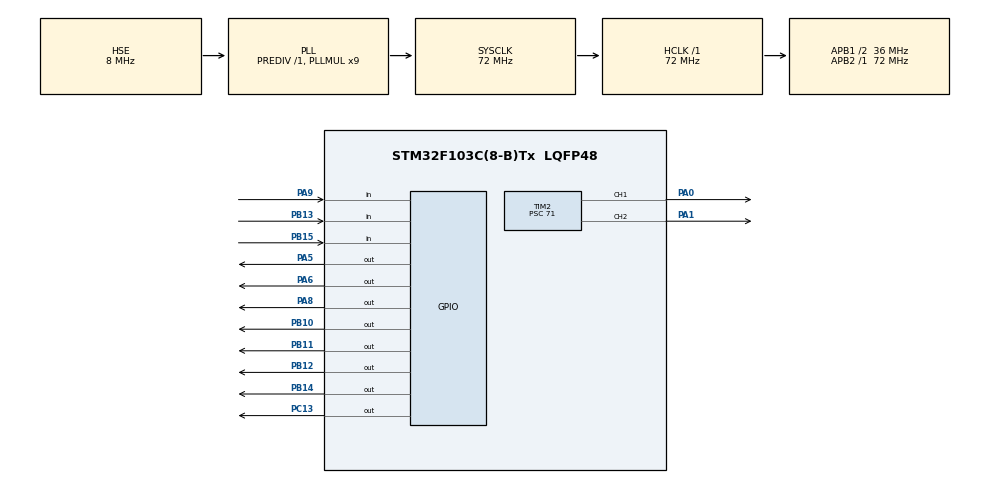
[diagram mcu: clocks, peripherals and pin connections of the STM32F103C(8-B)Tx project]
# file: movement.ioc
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Mcu.Family=STM32F1
Mcu.Name=STM32F103C(8-B)Tx
Mcu.Package=LQFP48
NVIC.PriorityGroup=NVIC_PRIORITYGROUP_4
PA0-WKUP.Signal=S_TIM2_CH1_ETR
PA1.Signal=S_TIM2_CH2
PA13.Mode=Serial_Wire
PA13.Signal=SYS_JTMS-SWDIO
PA14.Mode=Serial_Wire
PA14.Signal=SYS_JTCK-SWCLK
PA5.Signal=GPIO_Output
PA6.Signal=GPIO_Output
PA8.Signal=GPIO_Output
PA9.Signal=GPIO_Input
PB10.Signal=GPIO_Output
PB11.Signal=GPIO_Output
PB12.Signal=GPIO_Output
PB13.Signal=GPIO_Input
PB14.Signal=GPIO_Output
PB15.Signal=GPIO_Input
PC13-TAMPER-RTC.Signal=GPIO_Output
PD0-OSC_IN.Mode=HSE-External-Oscillator
PD0-OSC_IN.Signal=RCC_OSC_IN
PD1-OSC_OUT.Mode=HSE-External-Oscillator
PD1-OSC_OUT.Signal=RCC_OSC_OUT
ProjectManager.HeapSize=0x200
ProjectManager.StackSize=0x400
ProjectManager.TargetToolchain=STM32CubeIDE
RCC.AHBFreq_Value=72000000
RCC.APB1CLKDivider=RCC_HCLK_DIV2
RCC.APB1Freq_Value=36000000
RCC.APB1TimFreq_Value=72000000
RCC.APB2Freq_Value=72000000
RCC.APB2TimFreq_Value=72000000
RCC.HCLKFreq_Value=72000000
RCC.PLLMUL=RCC_PLL_MUL9
RCC.PLLSourceVirtual=RCC_PLLSOURCE_HSE
RCC.SYSCLKFreq_VALUE=72000000
RCC.SYSCLKSource=RCC_SYSCLKSOURCE_PLLCLK
RCC.USBFreq_Value=72000000
SH.S_TIM2_CH1_ETR.0=TIM2_CH1,PWM Generation1 CH1
SH.S_TIM2_CH2.0=TIM2_CH2,PWM Generation2 CH2
TIM1.Period=65535
TIM1.Prescaler=71
TIM2.Channel-PWM\ Generation1\ CH1=TIM_CHANNEL_1
TIM2.Channel-PWM\ Generation2\ CH2=TIM_CHANNEL_2
TIM2.Period=100
TIM2.Prescaler=71
VP_TIM1_VS_ClockSourceINT.Mode=Internal
VP_TIM2_VS_ClockSourceINT.Mode=Internal
board=custom

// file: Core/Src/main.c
/* USER CODE BEGIN Header */
/**
  ******************************************************************************
  * @file           : main.c
  * @brief          : Main program body
  ******************************************************************************
  * @attention
  *
  * Copyright (c) 2023 STMicroelectronics.
  * All rights reserved.
  *
  * This software is licensed under terms that can be found in the LICENSE file
  * in the root directory of this software component.
  * If no LICENSE file comes with this software, it is provided AS-IS.
  *
  ******************************************************************************
  */
/* USER CODE END Header */
#include "main.h"
#include "math.h"
#include "string.h"
#include <stdio.h>

/* USER CODE BEGIN PD */
   #define BIT0   0x01 // 0000 000'0' BIT0 for wall N,
   #define BIT1   0x02 // 0000 00'0'0 BIT1 for wall E
   #define BIT2   0x04 // 0000 0'0'00 BIT2 for wall S
   #define BIT3   0x08 // 0000 '0'000 BIT3 for wall W
   #define BIT4   0x10 // 000'0' 0000
   #define BIT5   0x20 // 00'0'0 0000
   #define BIT6   0x40 // 0'0'00 0000
   #define BIT7   0x80 /* '0'000 0000 for checking if car ran over or not */

#define CHECKBIT(x,b) (x&b) // check bit "b" in byte "x"
#define INPUT_A1 GPIO_PIN_5 // Output port for motor 1
#define INPUT_A2 GPIO_PIN_6 // Output port for motor 1
#define INPUT_B3 GPIO_PIN_0 // Output port for motor 2
#define INPUT_B4 GPIO_PIN_1 // Output port for motor 2
#define TRIG_PIN GPIO_PIN_12
#define TRIG_PORT GPIOB
#define ECHO_PIN GPIO_PIN_13
#define ECHO_PORT GPIOB
#define TRIG_PIN_1 GPIO_PIN_8
#define TRIG_PORT_1 GPIOA
#define ECHO_PIN_1 GPIO_PIN_9
#define ECHO_PORT_1 GPIOA
#define TRIG_PIN_2 GPIO_PIN_14
#define TRIG_PORT_2 GPIOB
#define ECHO_PIN_2 GPIO_PIN_15
#define ECHO_PORT_2 GPIOB
uint32_t pMillis;
uint32_t Value1 = 0;
uint32_t Value2 = 0;
uint32_t Value3 = 0;
uint32_t Value4 = 0;
uint32_t Value5 = 0;
uint32_t Value6 = 0;
uint16_t Distance  = 0;
int stkptr=0;
int stk_empty_flag = 0;
float Kp = 0.25, Ki = 0, Kd = 0.8;
int error = 0;
float P = 0, I = 0, D = 0, PID_value = 0;
int speed_right=80;// ENA duty cycle
int speed_left=80;// ENB duty cycle
float previous_error = 0;
uint16_t Distance_1=0;// Distance_left
uint16_t Distance_2=0;// Distance_right
unsigned char mazeflood[36]={
4,3,2,2,3,4,
3,2,1,1,2,3,
2,1,0,0,1,2,
2,1,0,0,1,2,
3,2,1,1,2,3,
4,3,2,2,3,4
};

uint16_t current_cell=30;
unsigned char walldata[36];
unsigned char current_dir=1; // direction is forward at time 0s // west
uint16_t led_right=0,led_front=0,led_left=0;
uint16_t next_direct;
uint16_t destination = 15;
uint16_t count=0;

/* USER CODE END PD */

TIM_HandleTypeDef htim1;
TIM_HandleTypeDef htim2;

/* USER CODE BEGIN PV */

/*
         7 6 5 4 3 2 1 0
direction: |0|W|0|S|0|E|0|N|
           64  16  4   1

*/
/* USER CODE END PV */

void SystemClock_Config(void);
static void MX_GPIO_Init(void);
static void MX_TIM1_Init(void);
static void MX_TIM2_Init(void);

/* USER CODE BEGIN 0 */

void turn_right(){
	// phai_tien
	HAL_GPIO_WritePin(GPIOA, GPIO_PIN_5, 0);
	HAL_GPIO_WritePin(GPIOA, GPIO_PIN_6, 0);
	//trai_dung
	HAL_GPIO_WritePin(GPIOB, GPIO_PIN_11, 0);
	HAL_GPIO_WritePin(GPIOB, GPIO_PIN_10, 1);
	TIM2->CCR1=100;

	HAL_Delay(200);
}
void turn_left(){
	// phai_dung
	HAL_GPIO_WritePin(GPIOA, GPIO_PIN_5, 0);
	HAL_GPIO_WritePin(GPIOA, GPIO_PIN_6, 1);
	//trai_tien
	HAL_GPIO_WritePin(GPIOB, GPIO_PIN_11, 0);
	HAL_GPIO_WritePin(GPIOB, GPIO_PIN_10, 0);
	TIM2->CCR1=100;

	HAL_Delay(200);

}
void ford_ward(){
	// phai_tien
	HAL_GPIO_WritePin(GPIOA, GPIO_PIN_5, 0);
	HAL_GPIO_WritePin(GPIOA, GPIO_PIN_6, 1);
	//trai_tien
	HAL_GPIO_WritePin(GPIOB, GPIO_PIN_11, 0);
	HAL_GPIO_WritePin(GPIOB, GPIO_PIN_10, 1);
	TIM2->CCR1=40;
	HAL_Delay(200);

}
void stop(){
	// phai_tien
	HAL_GPIO_WritePin(GPIOA, GPIO_PIN_5, 0);
	HAL_GPIO_WritePin(GPIOA, GPIO_PIN_6, 0);
	//trai_dung
	HAL_GPIO_WritePin(GPIOB, GPIO_PIN_11, 0);
	HAL_GPIO_WritePin(GPIOB, GPIO_PIN_10, 0);
	HAL_Delay(1000);

}
void sensor_right(){
	HAL_GPIO_WritePin(TRIG_PORT, TRIG_PIN, GPIO_PIN_SET);  // pull the TRIG pin HIGH
		      __HAL_TIM_SET_COUNTER(&htim1, 0);
		      while (__HAL_TIM_GET_COUNTER (&htim1) < 10);  // wait for 10 us
		      HAL_GPIO_WritePin(TRIG_PORT, TRIG_PIN, GPIO_PIN_RESET);  // pull the TRIG pin low

		      pMillis = HAL_GetTick(); // used this to avoid infinite while loop  (for timeout)
		      // wait for the echo pin to go high
		      while (!(HAL_GPIO_ReadPin (ECHO_PORT, ECHO_PIN)) && pMillis + 10 >  HAL_GetTick());
		      Value1 = __HAL_TIM_GET_COUNTER (&htim1);

		      pMillis = HAL_GetTick(); // used this to avoid infinite while loop (for timeout)
		      // wait for the echo pin to go low
		      while ((HAL_GPIO_ReadPin (ECHO_PORT, ECHO_PIN)) && pMillis + 50 > HAL_GetTick());
		      Value2 = __HAL_TIM_GET_COUNTER (&htim1);

		      Distance = (Value2-Value1)* 0.034/2;
		      if ( Distance <= 12 ) led_right=1;
		      else led_right=0;

}
void sensor_left(){
	HAL_GPIO_WritePin(TRIG_PORT_1, TRIG_PIN_1, GPIO_PIN_SET);  // pull the TRIG pin HIGH
		  	    __HAL_TIM_SET_COUNTER(&htim1, 0);
		  	    while (__HAL_TIM_GET_COUNTER (&htim1) < 10);  // wait for 10 us
		  	    HAL_GPIO_WritePin(TRIG_PORT_1, TRIG_PIN_1, GPIO_PIN_RESET);  // pull the TRIG pin low

		  	    pMillis = HAL_GetTick(); // used this to avoid infinite while loop  (for timeout)
		  	    // wait for the echo pin to go high
		  	    while (!(HAL_GPIO_ReadPin (ECHO_PORT_1, ECHO_PIN_1)) && pMillis + 10 >  HAL_GetTick());
		  	    Value3 = __HAL_TIM_GET_COUNTER (&htim1);

		  	    pMillis = HAL_GetTick(); // used this to avoid infinite while loop (for timeout)
		  	    // wait for the echo pin to go low
		  	    while ((HAL_GPIO_ReadPin (ECHO_PORT_1, ECHO_PIN_1)) && pMillis + 50 > HAL_GetTick());
		  	    Value4 = __HAL_TIM_GET_COUNTER (&htim1);

		  	    Distance_1 = (Value4-Value3)/2/29.412;
		  	    if (Distance_1 <= 12) led_left=1;
		  	    else led_left=0;
}
void sensor_forward(){
	 HAL_GPIO_WritePin(TRIG_PORT_2, TRIG_PIN_2, GPIO_PIN_SET);  // pull the TRIG pin HIGH
		  	  	  	    __HAL_TIM_SET_COUNTER(&htim1, 0);
		  	  	  	    while (__HAL_TIM_GET_COUNTER (&htim1) < 10);  // wait for 10 us
		  	  	  	    HAL_GPIO_WritePin(TRIG_PORT_2, TRIG_PIN_2, GPIO_PIN_RESET);  // pull the TRIG pin low

		  	  	  	    pMillis = HAL_GetTick(); // used this to avoid infinite while loop  (for timeout)
		  	  	  	    // wait for the echo pin to go high
		  	  	  	    while (!(HAL_GPIO_ReadPin (ECHO_PORT_2, ECHO_PIN_2)) && pMillis + 10 >  HAL_GetTick());
		  	  	  	    Value5 = __HAL_TIM_GET_COUNTER (&htim1);

		  	  	  	    pMillis = HAL_GetTick(); // used this to avoid infinite while loop (for timeout)
		  	  	  	    // wait for the echo pin to go low
		  	  	  	    while ((HAL_GPIO_ReadPin (ECHO_PORT_2, ECHO_PIN_2)) && pMillis + 50 > HAL_GetTick());
		  	  	  	    Value6 = __HAL_TIM_GET_COUNTER (&htim1);

		  	  	  	   Distance_2 = (Value6-Value5)/2/29.412;
		  	  	  	   if (Distance_2 <= 12) led_front=1;
		  	  	  	   else led_front=0;

}

void flood_fill()
{
  // ford_ward();
  // stop();
   unsigned char neighbour_val[] = {255,255,255,255};
   unsigned char wallinfo = 0, x=0;
   int stk[1000]; // Stack of 1000 cell, stk_ptr pointer, stk_empty_flag = 0 when stack is not empty, = 1 when empty
   uint16_t floodcell = 0;
   stk[0] = 255;
   stkptr++;
   stk[stkptr] = current_cell;
   while (stk_empty_flag == 0)
   {
	   //ford_ward();
	   //stop();

      floodcell = stk[stkptr];

      if (stkptr == 1) stk_empty_flag = 1;
      else
      stkptr--;

      neighbour_val[0] = 255;
      neighbour_val[1] = 255;
      neighbour_val[2] = 255;
      neighbour_val[3] = 255;

      wallinfo = walldata[floodcell];
      // flood_cell = current cell, maze_flood like a new array for checking wall
      // If there is no wall, the cell at that direction is called neighbor_cell with current_cell
      if ((wallinfo & BIT0) == 0 )  // Check BIT data of NORTH wall, if not wall -> save the value into maze_flood
         neighbour_val[0] = mazeflood[floodcell - 10]; //

      //East
      if ((wallinfo & BIT1)==0 )   // same
         neighbour_val[1] = mazeflood[floodcell + 1];

      //South
      if ((wallinfo & BIT2)==0 )  // same
         neighbour_val[2] = mazeflood[floodcell + 10];

      //West
      if ((wallinfo & BIT3 )==0)   // same
         neighbour_val[3] = mazeflood[floodcell - 1];

       // after save value of neighbor_cell, we will find the smallest value of 4
      // we will save the smallest in to neighbor_val[0]
      x = 0;
      while (x < 3)
      {
    	   //ford_ward();
    	   //stop();
         if (neighbour_val[0] > (neighbour_val[x + 1]))
            neighbour_val[0] = neighbour_val[x + 1];//

         x+=1;
      }
   // if current_cell != smallest neighbor_cell, we will update the value of current cell = neighbor_cell+ 1
      if ((floodcell != destination) && (mazeflood[floodcell] != (1+neighbour_val[0])))

      {
    	  mazeflood[floodcell] = 1 + neighbour_val[0];         // update

         //North
         if ((wallinfo & BIT0) ==0) // Due to update value, we need to update all, so take the value of NORTH cell into stack for check
         {
            stkptr++;
            stk[stkptr] = floodcell - 10;
            stk_empty_flag = 0;
         }

         //East
         if ((wallinfo & BIT1)==0)// same
         {
            stkptr++;
            stk[stkptr] = floodcell + 1;
            stk_empty_flag = 0;
         }

         //South
         if ((wallinfo & BIT2)== 0)// same
         {
            stkptr++;
            stk[stkptr] = floodcell + 10;
            stk_empty_flag = 0;
         }

         //West
         if ((wallinfo & BIT3)==0) // same
         {
            stkptr++;
            stk[stkptr] = floodcell - 1;
            stk_empty_flag = 0;
         }
  	  // ford_ward();
  	  // stop();
      }
 	  // ford_ward();
 	  // stop();
   }
	  // ford_ward();
	  // stop();
}   //End flood_fill

uint16_t stepper(void)
{
	 //  ford_ward();
	  // stop();
   uint16_t neighbour_val[4] = {255,255,255,255};
   uint16_t min=1;
   unsigned char wallinfo = 0, x = 0, x2 = 0;

   wallinfo = walldata[current_cell];

// after have a new value, we save the new into neighbor_val for finding the smallest and turn the direction to it
   if ((wallinfo & BIT0)== 0)
      neighbour_val[0] = mazeflood[current_cell - 6];

   if ((wallinfo & BIT1) == 0)
      neighbour_val[1] = mazeflood[current_cell + 1];

   if ((wallinfo & BIT2)==0)
      neighbour_val[2] = mazeflood[current_cell + 6];

   if ((wallinfo & BIT3)==0)
      neighbour_val[3] = mazeflood[current_cell - 1];

   // find smallest
   x = 0;
   x2 = 0;
   while (x < 3)
   {

      if (neighbour_val[0] > neighbour_val[x + 1])
      {
         x2 = x + 1;
         min = pow(2, ( 2 * x2 )) ; // first, neighbor_val [4] have the value of 1 ( direction of North)
         // if the value of neighbor_val from 1 to 3 is smaller, we will update the direction of neighbor_val[4]to 4, 16, or 64 ( E -> S -> W)
         neighbour_val[0] = neighbour_val[x + 1];

      }
      x += 1;
   }
  // consider the direction of car now with neighbor_val[4]
   if (current_dir == min) // same direction, move straight
   {
      min = 1; // straight
      return min;
   }
   // if direction == 64 and neighbor_val[4] == 1 -> direction follow North, from W to N, turn right
   if ( ((current_dir == 64) && (min == 1)) || (current_dir == (min/4)) )
   {
      min = 2; // right
      return min;
   }
   // the same reason
   if ( ((current_dir == 1) && (min == 64)) || (current_dir == (4 * min)) )
   {
      min = 3; //left
      return min;
   }
   else
   {
	  min =4; //turn around
	  return min;
   }

}

 /*void get_sensor(TRIG_PORT,TRIG_PIN,ECHO_PORT,ECHO_PIN,Distance){

}*/
void caculate_PID(){
P=error;
I=+error;
D=error-previous_error;
PID_value=Kp*P+Ki*I+Kd*D;
}
/* USER CODE END 0 */

int main(void)
{
  /* USER CODE BEGIN 1 */
    walldata[0]=9;
    walldata[5]=3;
    walldata[30]=12;
    walldata[35]=6;
    for (int i=1;i<5;i++)
    {
      walldata[i]=1;
    }
    for (int i=6;i<25;i+=6)
    {
      walldata[i]=8;
    }
    for (int i=11;i<30;i+=10)
    {
      walldata[i]=2;
    }
    for (int i=31;i<35;i++)
    {
      walldata[i]=4;
    }
	walldata[current_cell]=((walldata[current_cell]) | (1<<7) | (1<<1) | (0<<0) );

	//HAL_Delay(500);
    /*ford_ward();
    if (current_dir==1)current_cell=current_cell+10; //NORTH
    if (current_dir==4)current_cell=current_cell+1;  // EAST
    if (current_dir==16)current_cell=current_cell-10; // SOUTH
    if (current_dir==64)current_cell=current_cell-1; //WEST
    */

  /* USER CODE END 1 */

  /* MCU Configuration--------------------------------------------------------*/

  /* Reset of all peripherals, Initializes the Flash interface and the Systick. */
  HAL_Init();

  /* USER CODE BEGIN Init */
  int timer_1=HAL_GetTick();
  /* USER CODE END Init */

  /* Configure the system clock */
  SystemClock_Config();

  /* Initialize all configured peripherals */
  MX_GPIO_Init();
  MX_TIM1_Init();
  MX_TIM2_Init();
  /* USER CODE BEGIN 2 */

 HAL_TIM_PWM_Start(&htim2, TIM_CHANNEL_1);//PA1 TIm2 channel 2 ENB
HAL_TIM_PWM_Start(&htim2, TIM_CHANNEL_2);//PA11 TIM1 channel 4 ENA

 // HAL_GPIO_WritePin(GPIOB, TRIG_PIN_1, GPIO_PIN_RESET);
  //HAL_GPIO_WritePin(GPIOB, TRIG_PIN_2, GPIO_PIN_RESET);
  HAL_TIM_Base_Start(&htim1);
    HAL_GPIO_WritePin(TRIG_PORT, TRIG_PIN, GPIO_PIN_RESET);  // pull the TRIG pin low

  /* USER CODE END 2 */

  /* Infinite loop */
  /* USER CODE BEGIN WHILE */
  while (1)
  {

	  if (count==0)
	  {
		  HAL_Delay(5000);
		  ford_ward();
		  stop();
		   if (current_dir==1)current_cell=current_cell-6; //NORTH
		   if (current_dir==4)current_cell=current_cell+1;  // EAST
		   if (current_dir==16)current_cell=current_cell+6; // SOUTH
		   if (current_dir==64)current_cell=current_cell-1; //WEST
			walldata[current_cell]=((walldata[current_cell]) | (1<<7) | (0<<1) | (1<<0) );

		   count++;
	  }
	  else
	  {
		  sensor_right();
		  sensor_left();
		  sensor_forward();
	      if (current_dir == 1 ) // North direction
	      {
	    	  if ((walldata [current_cell] & BIT7) == 0)
	    		  walldata[current_cell]=((walldata[current_cell]) | (1<<7) | (led_left<<3) | (led_right<<1) | (led_front<<0) | (0<<2) );

			  if ( ((walldata[current_cell+1] & BIT7)==0) && (current_cell != 5) && (current_cell != 11)
					  && (current_cell != 17) && (current_cell != 23) && (current_cell != 29) && (current_cell != 35)
					  && led_right==1 )
          {
				  walldata[current_cell+1]=((walldata[current_cell+1]) | (1<<7) | (1<<3));
          }

			  if (((walldata[current_cell-1] & BIT7)==0 ) && (current_cell != 0) && (current_cell != 6)
					  && (current_cell != 12) && (current_cell != 18) && (current_cell != 24) && (current_cell != 30)
					  && led_left==1 )
        {

          walldata[current_cell-1]=((walldata[current_cell-1]) | (1<<7) | (1<<1));

        }

			  if (((walldata[current_cell-6] & BIT7)==0 ) && (current_cell != 0) && (current_cell != 1)
					  && (current_cell != 2) && (current_cell != 3) && (current_cell != 4) && (current_cell != 5)
					  && led_front==1 )
        {
          walldata[current_cell-6]=((walldata[current_cell-6]) | (1<<7) | (1<<2));

        }
	      }

	      if (current_dir ==4 ) //East direction
	      {
	    	  if ((walldata [current_cell]& BIT7) == 0)
	    		  walldata[current_cell]=((walldata[current_cell]) | (1<<7) | (led_left<<0) | (led_right<<2) | (led_front<<1) | (0<<3)) ;
			  if (((walldata[current_cell+1] & BIT7)==0 ) && (current_cell != 5) && (current_cell != 11)
					  && (current_cell != 17) && (current_cell != 23) && (current_cell != 29) && (current_cell != 35)
					  && led_front==1 )
				  walldata[current_cell+1]=((walldata[current_cell+1]) | (1<<7) | (1<<3));

			  if (((walldata[current_cell-6] & BIT7)==0 ) && (current_cell != 30) && (current_cell != 31)
					  && (current_cell != 32) && (current_cell != 33) && (current_cell != 34) && (current_cell != 35)
					  && led_left==1 )
				  walldata[current_cell-6]=((walldata[current_cell-6]) | (1<<7) | (1<<2));

			  if (((walldata[current_cell+6] & BIT7)==0 ) && (current_cell != 0) && (current_cell != 1)
					  && (current_cell != 2) && (current_cell != 3) && (current_cell != 4) && (current_cell != 5)
					  && led_right==1 )
				  walldata[current_cell+6]=((walldata[current_cell+6]) | (1<<7) | (1<<0));
	      }

	      if (current_dir ==16 )// South direction
	      {

	    	  if ((walldata [current_cell]& BIT7) == 0)
	    		  walldata[current_cell]=((walldata[current_cell]) | (1<<7) | (led_left<<1) | (led_right<<3) | (led_front<<2) | (0<<0) );
			  if (((walldata[current_cell+1] & BIT7)==0 ) && (current_cell != 5) && (current_cell != 11)
					  && (current_cell != 17) && (current_cell != 23) && (current_cell != 29) && (current_cell != 35)
					  && led_left==1 )
				  walldata[current_cell+1]=((walldata[current_cell+1]) | (1<<7) | (1<<3));

			  if (((walldata[current_cell-1] & BIT7)==0 ) && (current_cell != 0) && (current_cell != 6)
					  && (current_cell != 12) && (current_cell != 18) && (current_cell != 24) && (current_cell != 30)
					  && led_right==1 )
				  walldata[current_cell-1]=((walldata[current_cell-1]) | (1<<7) | (1<<1));

			  if (((walldata[current_cell+6] & BIT7)==0 ) && (current_cell != 0) && (current_cell != 1)
					  && (current_cell != 2) && (current_cell != 3) && (current_cell != 4) && (current_cell != 5)
					  && led_front==1 )
				  walldata[current_cell+6]=((walldata[current_cell+6]) | (1<<7) | (1<<2));
	      }

	      if (current_dir ==64 )// West direction
	      {

	    	  if ((walldata [current_cell]& BIT7) == 0)
	    		  walldata[current_cell]=((walldata[current_cell]) | (1<<7) | (led_left<<2) | (led_right<<0) | (led_front<<3) | (0<<1) );
			  if (((walldata[current_cell-1] & BIT7)==0 ) && (current_cell != 0) && (current_cell != 6)
					  && (current_cell != 12) && (current_cell != 18) && (current_cell != 24) && (current_cell != 30)
						  && led_right==1 )
					  walldata[current_cell-1]=((walldata[current_cell-1]) | (1<<7) | (1<<1));

			  if (((walldata[current_cell-6] & BIT7)==0 ) && (current_cell != 30) && (current_cell != 31)
					  && (current_cell != 32) && (current_cell != 33) && (current_cell != 34) && (current_cell != 35)
					  && led_left==1 )
				  walldata[current_cell-6]=((walldata[current_cell-6]) | (1<<7) | (1<<2));

			  if (((walldata[current_cell+6] & BIT7)==0 ) && (current_cell != 0) && (current_cell != 1)
					  && (current_cell != 2) && (current_cell != 3) && (current_cell != 4) && (current_cell != 5)
					  && led_front==1 )
				  walldata[current_cell+6]=((walldata[current_cell+6]) | (1<<7) | (1<<2));

	      }
      flood_fill();
	   //ford_ward();
	   //stop();
      next_direct=stepper();
      if (next_direct == 2)
      {
    	  turn_right();
    	  current_dir=current_dir*4;
    	  if (current_dir ==0) 	current_dir =1;
    	  ford_ward();
      }
      else if(next_direct == 3)
      {
    	  turn_left();
    	  current_dir=current_dir/4;
    	  if (current_dir == 0)
    		  current_dir =1;
    	  ford_ward();
      }
      else if (next_direct == 4)// turn back 180 degrees
      {
    	  turn_right(); // turn 1 time
    	  current_dir= current_dir *4;
    	  if (current_dir ==0) 	current_dir =1;

    	  turn_right(); // turn 2 times
    	  current_dir= current_dir *4;
    	  if (current_dir ==0) 	current_dir =1;
    	  ford_ward();
      }
      else
      ford_ward();
      stop();
      if (current_dir==1)current_cell=current_cell-6; //NORTH
      if (current_dir==4)current_cell=current_cell+1;  // EAST
      if (current_dir==16)current_cell=current_cell+6; // SOUTH
      if (current_dir==64)current_cell=current_cell-1; //WEST

      if (current_cell == destination) // when the car go to final -> make the car go out and pick up
      {
    	  if (current_dir == 1)
    		  ford_ward();
    	  else if (current_dir == 4)
    	  {
    		  turn_left();
    		  current_dir /= 4;
        	  if (current_dir == 0)
        		  current_dir =1;
    		  ford_ward();
    	  }
    	  else if (current_dir == 64)
    	  {
    		  turn_right();
    		  current_dir *= 4;
        	  if (current_dir == 0)
        		  current_dir =1;
    		  ford_ward();
    	  }
    	  break;
      }
    HAL_Delay(3000);

    //toggle_pin();

	 // get_sensor(GPIOA, TRIG_PIN_1, GPIOA, ECHO_PIN_1, Distance_1);

     //HAL_TIM_SET_COMPARE(&htim2,TIM_CHANNEL_4, 50);
	 // control();

//__HAL_TIM_SET_COMPARE(&htim2,TIM_CHANNEL_2, speed_right);// set ENB
//__HAL_TIM_SET_COMPARE(&htim2,TIM_CHANNEL_4, speed_left);//set ENA

  }
    /* USER CODE END WHILE */
  }
}

void SystemClock_Config(void)
{
  RCC_OscInitTypeDef RCC_OscInitStruct = {0};
  RCC_ClkInitTypeDef RCC_ClkInitStruct = {0};

  /** Initializes the RCC Oscillators according to the specified parameters
  * in the RCC_OscInitTypeDef structure.
  */
  RCC_OscInitStruct.OscillatorType = RCC_OSCILLATORTYPE_HSE;
  RCC_OscInitStruct.HSEState = RCC_HSE_ON;
  RCC_OscInitStruct.HSEPredivValue = RCC_HSE_PREDIV_DIV1;
  RCC_OscInitStruct.HSIState = RCC_HSI_ON;
  RCC_OscInitStruct.PLL.PLLState = RCC_PLL_ON;
  RCC_OscInitStruct.PLL.PLLSource = RCC_PLLSOURCE_HSE;
  RCC_OscInitStruct.PLL.PLLMUL = RCC_PLL_MUL9;
  if (HAL_RCC_OscConfig(&RCC_OscInitStruct) != HAL_OK)
  {
    Error_Handler();
  }

  /** Initializes the CPU, AHB and APB buses clocks
  */
  RCC_ClkInitStruct.ClockType = RCC_CLOCKTYPE_HCLK|RCC_CLOCKTYPE_SYSCLK
                              |RCC_CLOCKTYPE_PCLK1|RCC_CLOCKTYPE_PCLK2;
  RCC_ClkInitStruct.SYSCLKSource = RCC_SYSCLKSOURCE_PLLCLK;
  RCC_ClkInitStruct.AHBCLKDivider = RCC_SYSCLK_DIV1;
  RCC_ClkInitStruct.APB1CLKDivider = RCC_HCLK_DIV2;
  RCC_ClkInitStruct.APB2CLKDivider = RCC_HCLK_DIV1;

  if (HAL_RCC_ClockConfig(&RCC_ClkInitStruct, FLASH_LATENCY_2) != HAL_OK)
  {
    Error_Handler();
  }
}

static void MX_TIM1_Init(void)
{

  TIM_ClockConfigTypeDef sClockSourceConfig = {0};
  TIM_MasterConfigTypeDef sMasterConfig = {0};

  htim1.Instance = TIM1;
  htim1.Init.Prescaler = 71;
  htim1.Init.CounterMode = TIM_COUNTERMODE_UP;
  htim1.Init.Period = 65535;
  htim1.Init.ClockDivision = TIM_CLOCKDIVISION_DIV1;
  htim1.Init.RepetitionCounter = 0;
  htim1.Init.AutoReloadPreload = TIM_AUTORELOAD_PRELOAD_DISABLE;
  if (HAL_TIM_Base_Init(&htim1) != HAL_OK)
  {
    Error_Handler();
  }
  sClockSourceConfig.ClockSource = TIM_CLOCKSOURCE_INTERNAL;
  if (HAL_TIM_ConfigClockSource(&htim1, &sClockSourceConfig) != HAL_OK)
  {
    Error_Handler();
  }
  sMasterConfig.MasterOutputTrigger = TIM_TRGO_RESET;
  sMasterConfig.MasterSlaveMode = TIM_MASTERSLAVEMODE_DISABLE;
  if (HAL_TIMEx_MasterConfigSynchronization(&htim1, &sMasterConfig) != HAL_OK)
  {
    Error_Handler();
  }

}

static void MX_TIM2_Init(void)
{

  TIM_ClockConfigTypeDef sClockSourceConfig = {0};
  TIM_MasterConfigTypeDef sMasterConfig = {0};
  TIM_OC_InitTypeDef sConfigOC = {0};

  htim2.Instance = TIM2;
  htim2.Init.Prescaler = 71;
  htim2.Init.CounterMode = TIM_COUNTERMODE_UP;
  htim2.Init.Period = 100;
  htim2.Init.ClockDivision = TIM_CLOCKDIVISION_DIV1;
  htim2.Init.AutoReloadPreload = TIM_AUTORELOAD_PRELOAD_DISABLE;
  if (HAL_TIM_Base_Init(&htim2) != HAL_OK)
  {
    Error_Handler();
  }
  sClockSourceConfig.ClockSource = TIM_CLOCKSOURCE_INTERNAL;
  if (HAL_TIM_ConfigClockSource(&htim2, &sClockSourceConfig) != HAL_OK)
  {
    Error_Handler();
  }
  if (HAL_TIM_PWM_Init(&htim2) != HAL_OK)
  {
    Error_Handler();
  }
  sMasterConfig.MasterOutputTrigger = TIM_TRGO_RESET;
  sMasterConfig.MasterSlaveMode = TIM_MASTERSLAVEMODE_DISABLE;
  if (HAL_TIMEx_MasterConfigSynchronization(&htim2, &sMasterConfig) != HAL_OK)
  {
    Error_Handler();
  }
  sConfigOC.OCMode = TIM_OCMODE_PWM1;
  sConfigOC.Pulse = 0;
  sConfigOC.OCPolarity = TIM_OCPOLARITY_HIGH;
  sConfigOC.OCFastMode = TIM_OCFAST_DISABLE;
  if (HAL_TIM_PWM_ConfigChannel(&htim2, &sConfigOC, TIM_CHANNEL_1) != HAL_OK)
  {
    Error_Handler();
  }
  if (HAL_TIM_PWM_ConfigChannel(&htim2, &sConfigOC, TIM_CHANNEL_2) != HAL_OK)
  {
    Error_Handler();
  }
  HAL_TIM_MspPostInit(&htim2);

}

static void MX_GPIO_Init(void)
{
  GPIO_InitTypeDef GPIO_InitStruct = {0};

  /* GPIO Ports Clock Enable */
  __HAL_RCC_GPIOC_CLK_ENABLE();
  __HAL_RCC_GPIOD_CLK_ENABLE();
  __HAL_RCC_GPIOA_CLK_ENABLE();
  __HAL_RCC_GPIOB_CLK_ENABLE();

  /*Configure GPIO pin Output Level */
  HAL_GPIO_WritePin(GPIOC, GPIO_PIN_13, GPIO_PIN_RESET);

  /*Configure GPIO pin Output Level */
  HAL_GPIO_WritePin(GPIOA, GPIO_PIN_5|GPIO_PIN_6|GPIO_PIN_8, GPIO_PIN_RESET);

  /*Configure GPIO pin Output Level */
  HAL_GPIO_WritePin(GPIOB, GPIO_PIN_10|GPIO_PIN_11|GPIO_PIN_12|GPIO_PIN_14, GPIO_PIN_RESET);

  /*Configure GPIO pin : PC13 */
  GPIO_InitStruct.Pin = GPIO_PIN_13;
  GPIO_InitStruct.Mode = GPIO_MODE_OUTPUT_PP;
  GPIO_InitStruct.Pull = GPIO_NOPULL;
  GPIO_InitStruct.Speed = GPIO_SPEED_FREQ_LOW;
  HAL_GPIO_Init(GPIOC, &GPIO_InitStruct);

  /*Configure GPIO pins : PA5 PA6 PA8 */
  GPIO_InitStruct.Pin = GPIO_PIN_5|GPIO_PIN_6|GPIO_PIN_8;
  GPIO_InitStruct.Mode = GPIO_MODE_OUTPUT_PP;
  GPIO_InitStruct.Pull = GPIO_NOPULL;
  GPIO_InitStruct.Speed = GPIO_SPEED_FREQ_LOW;
  HAL_GPIO_Init(GPIOA, &GPIO_InitStruct);

  /*Configure GPIO pins : PB10 PB11 PB12 PB14 */
  GPIO_InitStruct.Pin = GPIO_PIN_10|GPIO_PIN_11|GPIO_PIN_12|GPIO_PIN_14;
  GPIO_InitStruct.Mode = GPIO_MODE_OUTPUT_PP;
  GPIO_InitStruct.Pull = GPIO_NOPULL;
  GPIO_InitStruct.Speed = GPIO_SPEED_FREQ_LOW;
  HAL_GPIO_Init(GPIOB, &GPIO_InitStruct);

  /*Configure GPIO pins : PB13 PB15 */
  GPIO_InitStruct.Pin = GPIO_PIN_13|GPIO_PIN_15;
  GPIO_InitStruct.Mode = GPIO_MODE_INPUT;
  GPIO_InitStruct.Pull = GPIO_NOPULL;
  HAL_GPIO_Init(GPIOB, &GPIO_InitStruct);

  /*Configure GPIO pin : PA9 */
  GPIO_InitStruct.Pin = GPIO_PIN_9;
  GPIO_InitStruct.Mode = GPIO_MODE_INPUT;
  GPIO_InitStruct.Pull = GPIO_NOPULL;
  HAL_GPIO_Init(GPIOA, &GPIO_InitStruct);

}

void Error_Handler(void)
{
  __disable_irq();
  while (1)
  {
  }
}
